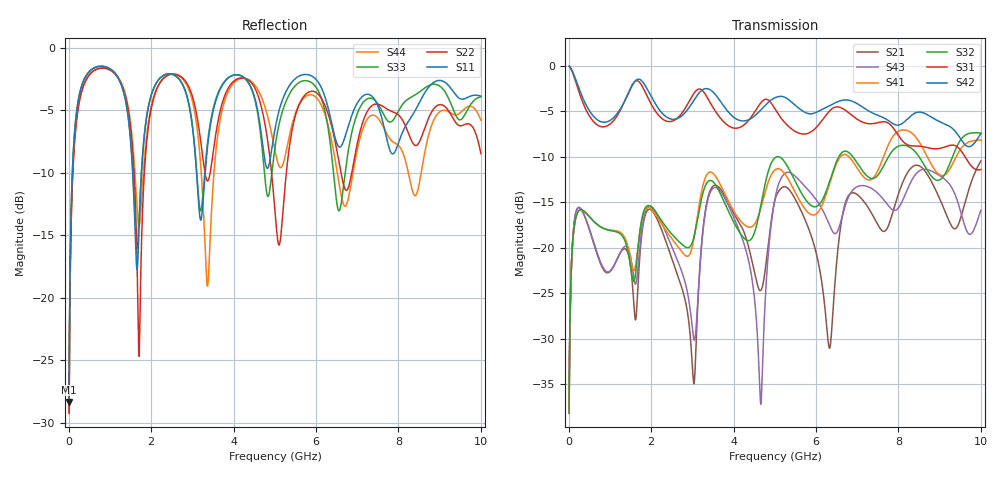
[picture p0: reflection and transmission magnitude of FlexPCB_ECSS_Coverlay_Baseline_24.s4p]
! TOUCHSTONE file generated by CST MICROWAVE STUDIO
! Date and time: Sun Jul  5 19:09:46 2026
! Project name: FlexPCB_ECSS_Coverlay_Baseline.cst
! Parameters = {Gap=1; GroundW=7.8; Hadh=0.025; Hcov=0.025; Hsub=0.1; L=50; Tcu=0.035; W=0.18}
! Header version: 2024
! Port assignment regex: !\s*Touchstone port\s*([0-9]+)\s*=\s*(CST MWS port|CST DES external port|CST DES block port)\s*(.+)\s* \(\"(.*)\"\)(\s*mode\s*([0-9]+))?.*
! Touchstone port assignment:
! Touchstone port 1 = CST MWS port 1 ("")
! Touchstone port 2 = CST MWS port 2 ("")
! Touchstone port 3 = CST MWS port 3 ("")
! Touchstone port 4 = CST MWS port 4 ("")
# GHz S MA R 50
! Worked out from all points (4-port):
!   1002 points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, 10 MHz to 10 GHz, reference 50 ohm
!   strongest paths, dB at 10 MHz, 2.51 GHz, 5.01 GHz, 7.503 GHz, 10 GHz:
!     S42: 0.0, -5.9, -3.5, -5.4, -7.4
!     S31: 0.0, -6.1, -4.8, -6.2, -11.4
!     S32: -38.2, -18.5, -10.1, -12.0, -7.4
!     S41: -38.2, -19.0, -11.4, -11.5, -8.2
!     S43: -37.2, -20.0, -14.4, -14.0, -15.9
!     S21: -37.2, -21.3, -14.6, -17.5, -10.4
!   lowest |S11| = -28.3 dB at 10 MHz (marker M1), VSWR 1.08, Z = 49.8 - j3.81 ohm
!   |S11| at or under -10 dB: start of sweep to 88.78 MHz; 1.552 GHz to 1.768 GHz (215.1 MHz wide, 13 % of centre); 3.102 GHz to 3.31 GHz (208.6 MHz wide, 6.51 % of centre)
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0.01  0.03825 -91.3  0.01373 85.3  0.9979 -2.6  0.01233 85.4
      0.01373 85.3  0.03444 -90.9  0.01233 85.4  0.998 -2.4
      0.9979 -2.6  0.01233 85.4  0.03825 -91.3  0.01373 85.3
      0.01233 85.4  0.998 -2.4  0.01373 85.3  0.03444 -90.9
0.59  0.8256 -169.1  0.1088 -27.0  0.4985 -78.4  0.1414 -61.0
      0.1088 -27.0  0.8044 -168.4  0.1412 -61.3  0.5331 -77.2
      0.4985 -78.4  0.1412 -61.3  0.8249 -169.2  0.1105 -27.7
      0.1414 -61.0  0.5331 -77.2  0.1105 -27.7  0.805 -167.8
1.68  0.1436 -162.3  0.06155 34.9  0.827 172.0  0.1014 -135.4
      0.06155 34.9  0.08883 128.6  0.09836 -128.7  0.8468 178.9
      0.827 172.0  0.09836 -128.7  0.1694 -167.4  0.0777 15.6
      0.1014 -135.4  0.8468 178.9  0.0777 15.6  0.2038 156.7
3.18  0.2113 166.1  0.07715 62.9  0.7473 5.0  0.1809 89.4
      0.07715 62.9  0.4508 145.2  0.1672 81.8  0.7186 21.1
      0.7473 5.0  0.1672 81.8  0.2273 165.5  0.0772 100.9
      0.1809 89.4  0.7186 21.1  0.0772 100.9  0.3765 120.6
4.81  0.3294 174.8  0.09045 116.6  0.6554 -175.1  0.2192 -94.3
      0.09045 116.6  0.443 129.5  0.2479 -81.7  0.6215 -154.9
      0.6554 -175.1  0.2479 -81.7  0.2594 162.4  0.07441 67.8
      0.2192 -94.3  0.6215 -154.9  0.07441 67.8  0.5437 143.7
6.49  0.4212 161.8  0.07842 78.4  0.5957 5.3  0.2883 89.3
      0.07842 78.4  0.4004 146.4  0.2956 88.1  0.6316 13.9
      0.5957 5.3  0.2956 88.1  0.2497 152.4  0.1205 123.1
      0.2883 89.3  0.6316 13.9  0.1205 123.1  0.3356 133.5
10  0.6407 176.3  0.3008 27.5  0.2699 -20.0  0.3911 41.0
    0.3008 27.5  0.3764 140.8  0.4278 47.4  0.4255 -6.8
    0.2699 -20.0  0.4278 47.4  0.6356 175.6  0.161 9.3
    0.3911 41.0  0.4255 -6.8  0.161 9.3  0.5134 138.4
